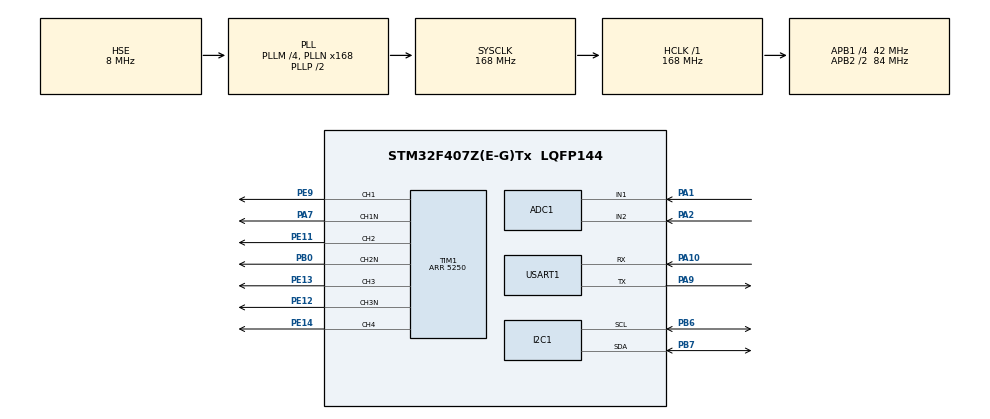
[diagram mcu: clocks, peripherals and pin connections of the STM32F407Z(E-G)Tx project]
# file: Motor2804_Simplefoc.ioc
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ADC1.Channel-0\#ChannelRegularConversion=ADC_CHANNEL_2
ADC1.Channel-2\#ChannelInjectedConversion=ADC_CHANNEL_1
ADC1.Channel-3\#ChannelInjectedConversion=ADC_CHANNEL_2
ADC1.DataAlign=ADC_DATAALIGN_LEFT
ADC1.ExternalTrigInjecConv=ADC_EXTERNALTRIGINJECCONV_T1_CC4
ADC1.InjNumberOfConversion=2
ADC1.InjectedOffset-2\#ChannelInjectedConversion=0
ADC1.InjectedOffset-3\#ChannelInjectedConversion=0
ADC1.InjectedRank-2\#ChannelInjectedConversion=1
ADC1.InjectedRank-3\#ChannelInjectedConversion=2
ADC1.NbrOfConversion=1
ADC1.NbrOfConversionFlag=1
ADC1.Rank-0\#ChannelRegularConversion=1
ADC1.SamplingTime-0\#ChannelRegularConversion=ADC_SAMPLETIME_3CYCLES
ADC1.SamplingTime-2\#ChannelInjectedConversion=ADC_SAMPLETIME_3CYCLES
ADC1.SamplingTime-3\#ChannelInjectedConversion=ADC_SAMPLETIME_3CYCLES
ADC1.ScanConvMode=ENABLE
ADC1.master=1
FREERTOS.Tasks01=LOGGER,-1,128,Logger_Task,As weak,NULL,Dynamic,NULL,NULL;MOTOR,1,128,Motor_Task,As weak,NULL,Dynamic,NULL,NULL;ANGLESPEED,0,128,AngleSpeed_Task,As weak,NULL,Dynamic,NULL,NULL
I2C1.I2C_Mode=I2C_Fast
Mcu.Family=STM32F4
Mcu.Name=STM32F407Z(E-G)Tx
Mcu.Package=LQFP144
NVIC.PriorityGroup=NVIC_PRIORITYGROUP_4
NVIC.TIM6_DAC_IRQn=true\:15\:0\:false\:false\:true\:false\:false\:true\:true
NVIC.TimeBase=TIM6_DAC_IRQn
NVIC.TimeBaseIP=TIM6
NVIC.USART1_IRQn=true\:5\:0\:false\:false\:true\:true\:true\:true\:true
PA1.Signal=ADCx_IN1
PA10.Mode=Asynchronous
PA10.Signal=USART1_RX
PA13.Mode=Serial_Wire
PA13.Signal=SYS_JTMS-SWDIO
PA14.Mode=Serial_Wire
PA14.Signal=SYS_JTCK-SWCLK
PA2.Signal=ADCx_IN2
PA7.Mode=PWM Generation1 CH1 CH1N
PA7.Signal=TIM1_CH1N
PA9.Mode=Asynchronous
PA9.Signal=USART1_TX
PB0.Mode=PWM Generation2 CH2 CH2N
PB0.Signal=TIM1_CH2N
PB6.Mode=I2C
PB6.Signal=I2C1_SCL
PB7.Mode=I2C
PB7.Signal=I2C1_SDA
PE11.Signal=S_TIM1_CH2
PE12.GPIO_Speed=GPIO_SPEED_FREQ_HIGH
PE12.Mode=PWM Generation3 CH3 CH3N
PE12.Signal=TIM1_CH3N
PE13.Signal=S_TIM1_CH3
PE14.Signal=S_TIM1_CH4
PE9.Signal=S_TIM1_CH1
PH0-OSC_IN.Mode=HSE-External-Oscillator
PH0-OSC_IN.Signal=RCC_OSC_IN
PH1-OSC_OUT.Mode=HSE-External-Oscillator
PH1-OSC_OUT.Signal=RCC_OSC_OUT
ProjectManager.HeapSize=0x200
ProjectManager.StackSize=0x400
ProjectManager.TargetToolchain=MDK-ARM V5.32
RCC.48MHZClocksFreq_Value=84000000
RCC.AHBFreq_Value=168000000
RCC.APB1CLKDivider=RCC_HCLK_DIV4
RCC.APB1Freq_Value=42000000
RCC.APB1TimFreq_Value=84000000
RCC.APB2CLKDivider=RCC_HCLK_DIV2
RCC.APB2Freq_Value=84000000
RCC.APB2TimFreq_Value=168000000
RCC.CortexFreq_Value=168000000
RCC.HCLKFreq_Value=168000000
RCC.HSE_VALUE=8000000
RCC.HSI_VALUE=16000000
RCC.LSE_VALUE=32768
RCC.PLLM=4
RCC.PLLN=168
RCC.PLLSourceVirtual=RCC_PLLSOURCE_HSE
RCC.SYSCLKFreq_VALUE=168000000
RCC.SYSCLKSource=RCC_SYSCLKSOURCE_PLLCLK
RCC.VCOOutputFreq_Value=336000000
SH.ADCx_IN1.0=ADC1_IN1,IN1
SH.ADCx_IN2.0=ADC1_IN2,IN2
SH.S_TIM1_CH1.0=TIM1_CH1,PWM Generation1 CH1 CH1N
SH.S_TIM1_CH2.0=TIM1_CH2,PWM Generation2 CH2 CH2N
SH.S_TIM1_CH3.0=TIM1_CH3,PWM Generation3 CH3 CH3N
SH.S_TIM1_CH4.0=TIM1_CH4,PWM Generation4 CH4
STMicroelectronics.X-CUBE-ALGOBUILD.1.4.0.LibraryCcDSPOoLibraryJjDSPOoLibrary=true
TIM1.AutoReloadPreload=TIM_AUTORELOAD_PRELOAD_ENABLE
TIM1.BreakPolarity=TIM_BREAKPOLARITY_LOW
TIM1.Channel-PWM\ Generation1\ CH1\ CH1N=TIM_CHANNEL_1
TIM1.Channel-PWM\ Generation2\ CH2\ CH2N=TIM_CHANNEL_2
TIM1.Channel-PWM\ Generation3\ CH3\ CH3N=TIM_CHANNEL_3
TIM1.Channel-PWM\ Generation4\ CH4=TIM_CHANNEL_4
TIM1.ClockDivision=TIM_CLOCKDIVISION_DIV2
TIM1.CounterMode=TIM_COUNTERMODE_CENTERALIGNED1
TIM1.DeadTime=16
TIM1.LockLevel=TIM_LOCKLEVEL_1
TIM1.OCMode_PWM-PWM\ Generation4\ CH4=TIM_OCMODE_PWM2
TIM1.OffStateIDLEMode=TIM_OSSI_ENABLE
TIM1.OffStateRunMode=TIM_OSSR_ENABLE
TIM1.Period=5250
TIM1.Pulse-PWM\ Generation4\ CH4=5250-1
TIM1.RepetitionCounter=1
USART1.VirtualMode=VM_ASYNC
VP_FREERTOS_VS_CMSIS_V1.Mode=CMSIS_V1
VP_STMicroelectronics.X-CUBE-ALGOBUILD_VS_DSPOoLibraryJjLibrary_1.4.0_1.4.0.Mode=DSPOoLibraryJjLibrary
VP_SYS_VS_tim6.Mode=TIM6
VP_TIM1_VS_ClockSourceINT.Mode=Internal
board=custom

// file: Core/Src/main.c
/* USER CODE BEGIN Header */
/**
 ******************************************************************************
 * @file           : main.c
 * @brief          : Main program body
 ******************************************************************************
 * @attention
 *
 * Copyright (c) 2024 STMicroelectronics.
 * All rights reserved.
 *
 * This software is licensed under terms that can be found in the LICENSE file
 * in the root directory of this software component.
 * If no LICENSE file comes with this software, it is provided AS-IS.
 *
 ******************************************************************************
 */
/* USER CODE END Header */
#include "main.h"
#include "cmsis_os.h"
#include "adc.h"
#include "i2c.h"
#include "tim.h"
#include "usart.h"
#include "gpio.h"

/* USER CODE BEGIN Includes */
#include "arm_math.h"
#include <math.h>
#include "stdint.h"
#include "stdlib.h"

#include "bsp_dwt.h"
#include "bsp_as5600.h"
#include "bsp_foc.h"
#include "bsp_usart.h"
#include "bsp_log.h"

#define LOG_TAG "MAIN"
#include "bsp_log.h"
/* USER CODE END Includes */

/* USER CODE BEGIN PD */

#define FPU_DEBUG 1 // 是否�?启浮点运�?

/* USER CODE END PD */

void SystemClock_Config(void);
void MX_FREERTOS_Init(void);

/* USER CODE BEGIN 0 */
#ifdef FPU_DEBUG
float fpu_test = 0;
#endif // FPU_DEBUG 1
/* USER CODE END 0 */

int main(void)
{

  /* MCU Configuration--------------------------------------------------------*/

  /* Reset of all peripherals, Initializes the Flash interface and the Systick. */
  HAL_Init();

  /* Configure the system clock */
  SystemClock_Config();

  /* Initialize all configured peripherals */
  MX_GPIO_Init();
  MX_I2C1_Init();
  MX_USART1_UART_Init();
  MX_TIM1_Init();
  MX_ADC1_Init();
  /* USER CODE BEGIN 2 */
#ifdef FPU_DEBUG
    fpu_test = arm_cos_f32(3.1415926 / 3); // cos(60°)
#endif
    DWT_Init(168);
    bsp_as5600Init();
    Log_Init();
  /* USER CODE END 2 */

  /* Call init function for freertos objects (in freertos.c) */
  MX_FREERTOS_Init();

  /* Start scheduler */
  osKernelStart();

  /* We should never get here as control is now taken by the scheduler */
  /* Infinite loop */
    while (1)
    {

    }
}

void SystemClock_Config(void)
{
  RCC_OscInitTypeDef RCC_OscInitStruct = {0};
  RCC_ClkInitTypeDef RCC_ClkInitStruct = {0};

  /** Configure the main internal regulator output voltage
  */
  __HAL_RCC_PWR_CLK_ENABLE();
  __HAL_PWR_VOLTAGESCALING_CONFIG(PWR_REGULATOR_VOLTAGE_SCALE1);

  /** Initializes the RCC Oscillators according to the specified parameters
  * in the RCC_OscInitTypeDef structure.
  */
  RCC_OscInitStruct.OscillatorType = RCC_OSCILLATORTYPE_HSE;
  RCC_OscInitStruct.HSEState = RCC_HSE_ON;
  RCC_OscInitStruct.PLL.PLLState = RCC_PLL_ON;
  RCC_OscInitStruct.PLL.PLLSource = RCC_PLLSOURCE_HSE;
  RCC_OscInitStruct.PLL.PLLM = 4;
  RCC_OscInitStruct.PLL.PLLN = 168;
  RCC_OscInitStruct.PLL.PLLP = RCC_PLLP_DIV2;
  RCC_OscInitStruct.PLL.PLLQ = 4;
  if (HAL_RCC_OscConfig(&RCC_OscInitStruct) != HAL_OK)
  {
    Error_Handler();
  }

  /** Initializes the CPU, AHB and APB buses clocks
  */
  RCC_ClkInitStruct.ClockType = RCC_CLOCKTYPE_HCLK|RCC_CLOCKTYPE_SYSCLK
                              |RCC_CLOCKTYPE_PCLK1|RCC_CLOCKTYPE_PCLK2;
  RCC_ClkInitStruct.SYSCLKSource = RCC_SYSCLKSOURCE_PLLCLK;
  RCC_ClkInitStruct.AHBCLKDivider = RCC_SYSCLK_DIV1;
  RCC_ClkInitStruct.APB1CLKDivider = RCC_HCLK_DIV4;
  RCC_ClkInitStruct.APB2CLKDivider = RCC_HCLK_DIV2;

  if (HAL_RCC_ClockConfig(&RCC_ClkInitStruct, FLASH_LATENCY_5) != HAL_OK)
  {
    Error_Handler();
  }
}

void HAL_TIM_PeriodElapsedCallback(TIM_HandleTypeDef *htim)
{
  if (htim->Instance == TIM6) {
    HAL_IncTick();
  }
}

void Error_Handler(void)
{
    __disable_irq();
    while (1)
    {
    }
}

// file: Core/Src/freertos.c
/* USER CODE BEGIN Header */
/**
  ******************************************************************************
  * File Name          : freertos.c
  * Description        : Code for freertos applications
  ******************************************************************************
  * @attention
  *
  * Copyright (c) 2024 STMicroelectronics.
  * All rights reserved.
  *
  * This software is licensed under terms that can be found in the LICENSE file
  * in the root directory of this software component.
  * If no LICENSE file comes with this software, it is provided AS-IS.
  *
  ******************************************************************************
  */
/* USER CODE END Header */

#include "FreeRTOS.h"
#include "task.h"
#include "main.h"
#include "cmsis_os.h"

osThreadId LOGGERHandle;
osThreadId MOTORHandle;
osThreadId ANGLESPEEDHandle;

void Logger_Task(void const * argument);
void Motor_Task(void const * argument);
void AngleSpeed_Task(void const * argument);

void MX_FREERTOS_Init(void); /* (MISRA C 2004 rule 8.1) */

/* GetIdleTaskMemory prototype (linked to static allocation support) */
void vApplicationGetIdleTaskMemory( StaticTask_t **ppxIdleTaskTCBBuffer, StackType_t **ppxIdleTaskStackBuffer, uint32_t *pulIdleTaskStackSize );

/* USER CODE BEGIN GET_IDLE_TASK_MEMORY */
static StaticTask_t xIdleTaskTCBBuffer;
static StackType_t xIdleStack[configMINIMAL_STACK_SIZE];

void vApplicationGetIdleTaskMemory( StaticTask_t **ppxIdleTaskTCBBuffer, StackType_t **ppxIdleTaskStackBuffer, uint32_t *pulIdleTaskStackSize )
{
  *ppxIdleTaskTCBBuffer = &xIdleTaskTCBBuffer;
  *ppxIdleTaskStackBuffer = &xIdleStack[0];
  *pulIdleTaskStackSize = configMINIMAL_STACK_SIZE;
  /* place for user code */
}
/* USER CODE END GET_IDLE_TASK_MEMORY */

void MX_FREERTOS_Init(void) {

  /* Create the thread(s) */
  /* definition and creation of LOGGER */
  osThreadDef(LOGGER, Logger_Task, osPriorityBelowNormal, 0, 128);
  LOGGERHandle = osThreadCreate(osThread(LOGGER), NULL);

  /* definition and creation of MOTOR */
  osThreadDef(MOTOR, Motor_Task, osPriorityAboveNormal, 0, 128);
  MOTORHandle = osThreadCreate(osThread(MOTOR), NULL);

  /* definition and creation of ANGLESPEED */
  osThreadDef(ANGLESPEED, AngleSpeed_Task, osPriorityNormal, 0, 128);
  ANGLESPEEDHandle = osThreadCreate(osThread(ANGLESPEED), NULL);

}

__weak void Logger_Task(void const * argument)
{
  for(;;)
  {
    osDelay(1);
  }
}

__weak void Motor_Task(void const * argument)
{
  for(;;)
  {
    osDelay(1);
  }
}

__weak void AngleSpeed_Task(void const * argument)
{
  for(;;)
  {
    osDelay(1);
  }
}
